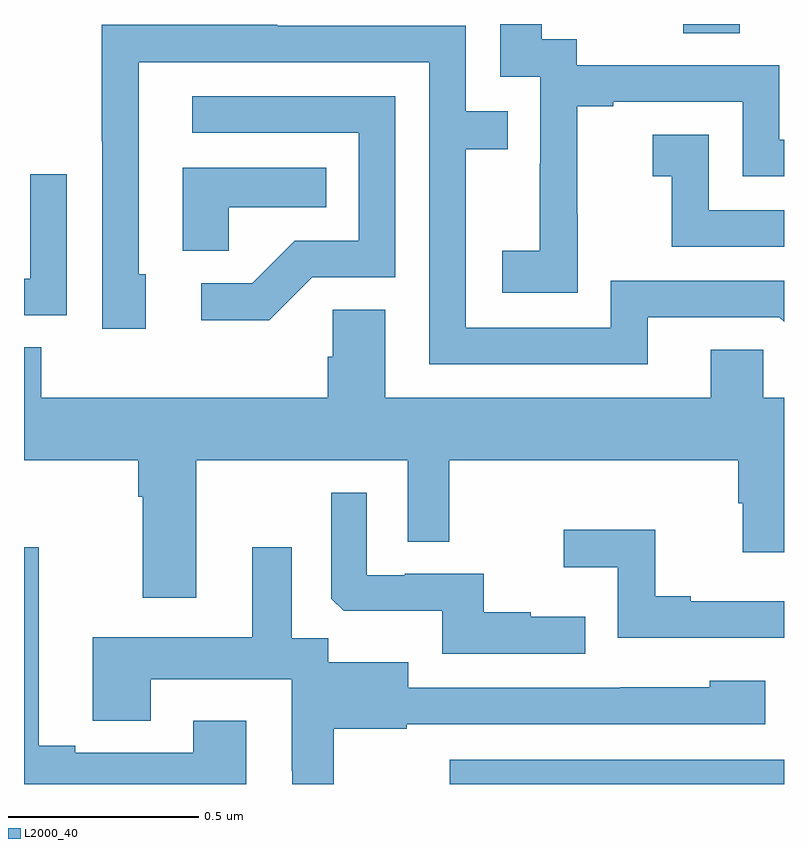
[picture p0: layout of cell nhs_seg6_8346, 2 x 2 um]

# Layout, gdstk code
import gdstk
lib = gdstk.Library(unit=1e-6, precision=1e-09)
def R(c, l, rs):  # rectangles x0, y0, x1, y1
    for r in rs: c.add(gdstk.rectangle(r[:2], r[2:], *l))
def P(c, l, *ps):  # polygons
    for p in ps: c.add(gdstk.Polygon(p, *l))
L2000_40 = (2000, 40)

nhs_seg6_8346 = lib.new_cell('nhs_seg6_8346')
R(nhs_seg6_8346, L2000_40, [(221.121,930.5,222,930.564), (221.735,932.476,221.883,932.5)])
P(nhs_seg6_8346, L2000_40, [(221.457,931.999),(221.456,931.999),(221.456,932.283),(221.551,932.283),(221.551,932.295),(221.892,932.295),(221.892,932.1),(222,932.1),(222,932.196),(221.988,932.196),(221.988,932.391),(221.454,932.391),(221.454,932.46),(221.362,932.46),(221.362,932.5),(221.253,932.5),(221.253,932.361),(221.358,932.361),(221.358,932.132),(221.357,932.132),(221.357,931.903),(221.259,931.903),(221.259,931.793),(221.457,931.793)],
  [(221.641,931.728),(221.988,931.728),(222,931.716),(222,931.824),(221.544,931.824),(221.544,931.701),(221.163,931.701),(221.163,932.17),(221.273,932.17),(221.273,932.271),(221.163,932.271),(221.163,932.496),(220.667,932.496),(220.667,932.498),(220.204,932.498),(220.204,932.191),(220.206,932.191),(220.206,931.698),(220.321,931.698),(220.321,931.842),(220.302,931.842),(220.302,932.4),(221.067,932.4),(221.067,931.605),(221.641,931.605)],
  [(220.758,931.833),(220.977,931.833),(220.977,932.31),(220.443,932.31),(220.443,932.214),(220.881,932.214),(220.881,931.929),(220.712,931.929),(220.601,931.818),(220.467,931.818),(220.467,931.721),(220.645,931.721)],
  [(222,932.01),(221.802,932.01),(221.802,932.209),(221.655,932.209),(221.655,932.099),(221.704,932.099),(221.704,931.914),(222,931.914)],
  [(220.539,932.018),(220.796,932.018),(220.796,932.122),(220.418,932.122),(220.418,931.903),(220.539,931.903)],
  [(220.113,932.104),(220.017,932.104),(220.017,931.83),(220,931.83),(220,931.734),(220.113,931.734)],
  [(221.807,931.516),(220.951,931.516),(220.951,931.748),(220.812,931.748),(220.812,931.625),(220.799,931.625),(220.799,931.516),(220.046,931.516),(220.046,931.649),(220,931.649),(220,931.352),(220.301,931.352),(220.301,931.256),(220.313,931.256),(220.313,930.99),(220.453,930.99),(220.453,931.352),(221.01,931.352),(221.01,931.138),(221.119,931.138),(221.119,931.352),(221.879,931.352),(221.879,931.239),(221.891,931.239),(221.891,931.11),(222,931.11),(222,931.516),(221.946,931.516),(221.946,931.643),(221.807,931.643)],
  [(221.477,930.94),(221.333,930.94),(221.333,930.952),(221.21,930.952),(221.21,931.053),(221.002,931.053),(221.002,931.05),(220.902,931.05),(220.902,931.267),(220.809,931.267),(220.809,930.987),(220.841,930.956),(221.1,930.956),(221.1,930.843),(221.477,930.843)],
  [(222,930.981),(221.755,930.981),(221.755,930.994),(221.661,930.994),(221.661,931.169),(221.421,931.169),(221.421,931.07),(221.562,931.07),(221.562,930.885),(222,930.885)],
  [(220.815,930.645),(221.007,930.645),(221.007,930.657),(221.95,930.657),(221.95,930.772),(221.805,930.772),(221.805,930.754),(221.569,930.754),(221.569,930.753),(221.011,930.753),(221.011,930.82),(220.8,930.82),(220.8,930.884),(220.705,930.884),(220.705,931.123),(220.601,931.123),(220.601,930.886),(220.181,930.886),(220.181,930.667),(220.333,930.667),(220.333,930.776),(220.704,930.776),(220.704,930.535),(220.706,930.535),(220.706,930.5),(220.815,930.5)],
  [(220.585,930.667),(220.445,930.667),(220.445,930.582),(220.135,930.582),(220.135,930.601),(220.039,930.601),(220.039,931.123),(220,931.123),(220,930.5),(220.585,930.5)])

lib.write_gds('nhs_seg6_8346.gds')
